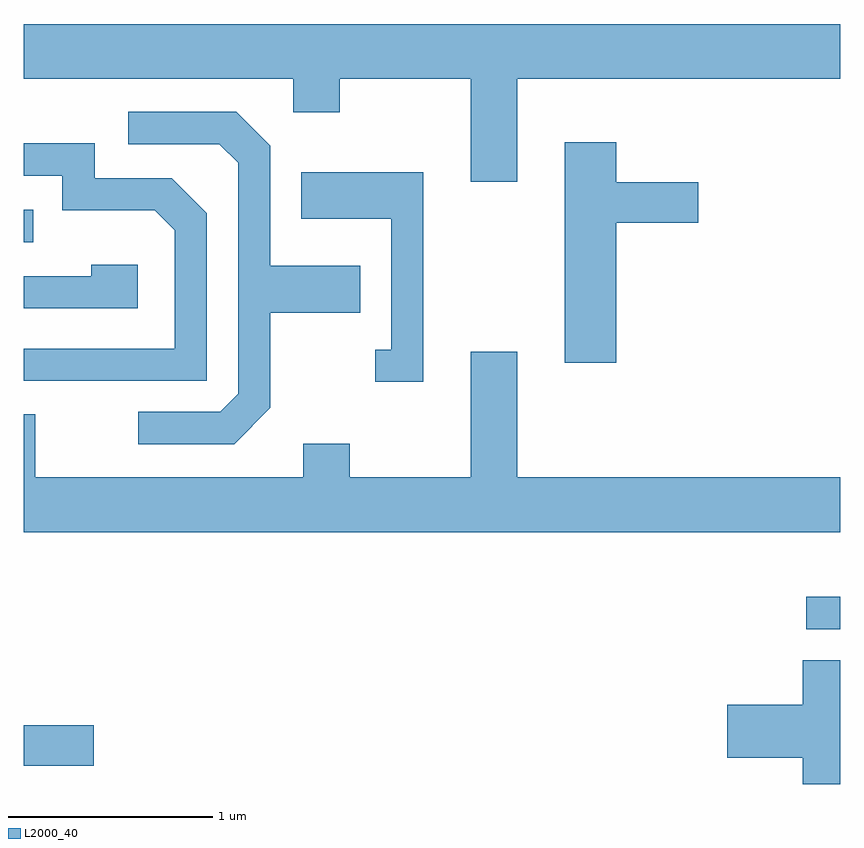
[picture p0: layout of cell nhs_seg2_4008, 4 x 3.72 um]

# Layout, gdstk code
import gdstk
lib = gdstk.Library(unit=1e-6, precision=1e-09)
def R(c, l, rs):  # rectangles x0, y0, x1, y1
    for r in rs: c.add(gdstk.rectangle(r[:2], r[2:], *l))
def P(c, l, *ps):  # polygons
    for p in ps: c.add(gdstk.Polygon(p, *l))
L2000_40 = (2000, 40)

nhs_seg2_4008 = lib.new_cell('nhs_seg2_4008')
R(nhs_seg2_4008, L2000_40, [(303.611,993.891,303.954,994.089), (307.443,994.561,307.611,994.719), (303.611,996.456,303.658,996.614)])
P(nhs_seg2_4008, L2000_40, [(306.029,997.256),(307.611,997.256),(307.611,997.524),(303.611,997.524),(303.611,997.256),(304.931,997.256),(304.931,997.091),(305.159,997.091),(305.159,997.256),(305.801,997.256),(305.801,996.751),(306.029,996.751)],
  [(304.819,995.644),(304.819,996.111),(305.259,996.111),(305.259,996.339),(304.819,996.339),(304.819,996.927),(304.652,997.094),(304.123,997.094),(304.123,996.936),(304.569,996.936),(304.661,996.844),(304.661,995.712),(304.574,995.624),(304.173,995.624),(304.173,995.466),(304.642,995.466)],
  [(306.514,996.551),(306.914,996.551),(306.914,996.749),(306.514,996.749),(306.514,996.944),(306.261,996.944),(306.261,995.866),(306.514,995.866)],
  [(304.509,996.597),(304.337,996.769),(303.959,996.769),(303.959,996.939),(303.611,996.939),(303.611,996.781),(303.801,996.781),(303.801,996.611),(304.254,996.611),(304.351,996.514),(304.351,995.934),(303.611,995.934),(303.611,995.776),(304.509,995.776)],
  [(305.569,996.799),(304.971,996.799),(304.971,996.571),(305.411,996.571),(305.411,995.929),(305.333,995.929),(305.333,995.771),(305.569,995.771)],
  [(304.169,996.344),(303.941,996.344),(303.941,996.289),(303.611,996.289),(303.611,996.131),(304.169,996.131)],
  [(307.611,995.304),(306.029,995.304),(306.029,995.919),(305.801,995.919),(305.801,995.304),(305.209,995.304),(305.209,995.469),(304.981,995.469),(304.981,995.304),(303.669,995.304),(303.669,995.614),(303.611,995.614),(303.611,995.036),(307.611,995.036)],
  [(307.611,994.409),(307.426,994.409),(307.426,994.189),(307.056,994.189),(307.056,993.931),(307.426,993.931),(307.426,993.802),(307.611,993.802)])

lib.write_gds('nhs_seg2_4008.gds')
